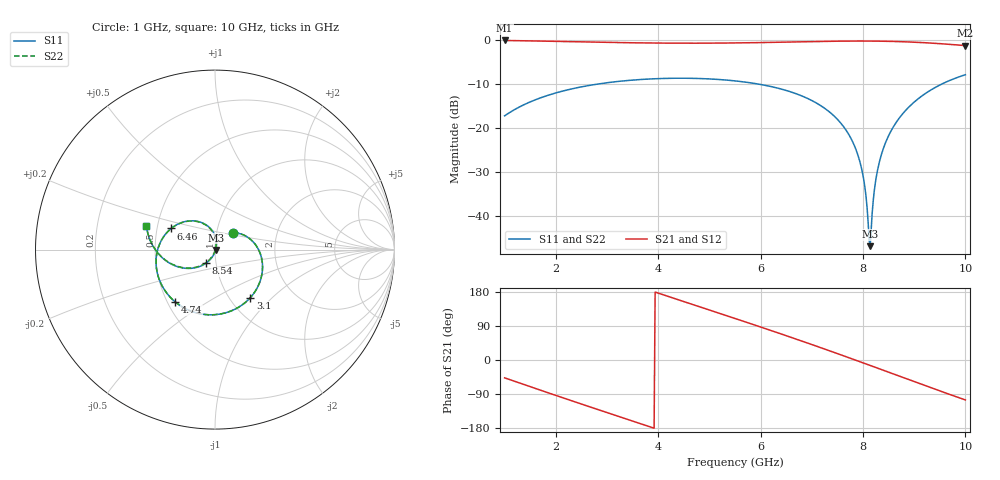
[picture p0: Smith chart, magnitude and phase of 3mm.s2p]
! Touchstone file exported from HFSS 2018.2.0
!  File:  C:/Users/10024/OneDrive - The University of Nottingham Ningbo China/Year 4/Final Year Project/HFSS project/Passive_Resonator_Antenna.aedt
!  Generated:  12:14:43 下午  3月 12, 2022
!  Design:  SMA_Thru
!  Project:  Passive_Resonator_Antenna
!  Setup:  Setup1
!  Solution:  Sweep
! Variables:
!  MW = 1mm
!  ThruL = 3mm
!  g = 0.2mm
!  subH = 0.8mm
!  subX = 20mm
!  subY = 13mm
!  tapW = 1mm
# GHZ S MA R 50.000000
! Modal data exported
! Port[1] = SMA_CONNECTOR1_1:1
! Port[2] = SMA_CONNECTOR2_1:1
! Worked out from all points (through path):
!   451 points, 1 GHz to 10 GHz, reference 50 ohm
!   highest |S21| = -0.09 dB at 1 GHz (marker M1); lowest = -1.3 dB at 10 GHz (marker M2)
!   group delay of S21, straight-line fit = 128 ps
!   lowest |S11| = -46.9 dB at 8.14 GHz (marker M3), VSWR 1.01, Z = 50.4 - j0.243 ohm
!   |S11| at or under -10 dB: start of sweep to 2.825 GHz; 5.949 GHz to 9.54 GHz (3.592 GHz wide, 46.4 % of centre)
!   |S22| runs from -52.9 to -7.9 dB; largest |S21 - S12| = 1.8e-14
!   S11 on the Smith chart (normalised r, x): 1 GHz: 1.20, +0.23; 3.1 GHz: 1.24, -0.75; 4.74 GHz: 0.55, -0.37; 6.46 GHz: 0.59, +0.15; 8.54 GHz: 0.89, -0.14; 10 GHz: 0.43, +0.13
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1  0.1373 42.9  0.9898 -47.1  0.9898 -47.1  0.1373 42.9
! Gamma ! 0.0151858380091465 30.3716836111974 0.015185838009149 30.3716836111944
! Port Impedance50 0 50 0
1.76  0.2263 7.4  0.9723 -82.4  0.9723 -82.4  0.2263 7.4
2.5  0.2934 -26.6  0.9528 -116.2  0.9528 -116.2  0.2934 -26.6
3.1  0.3323 -53.8  0.9386 -143.3  0.9386 -143.3  0.3324 -53.8
4  0.3643 -94.2  0.9244 176.5  0.9244 176.5  0.3643 -94.2
4.74  0.3661 -127.3  0.9215 143.6  0.9215 143.6  0.3661 -127.3
5.5  0.3432 -161.6  0.9276 109.7  0.9276 109.7  0.3432 -161.5
6.46  0.2713 154.2  0.9469 66.0  0.9469 66.0  0.2713 154.5
7  0.2052 128.5  0.9604 40.8  0.9604 40.8  0.2051 129.0
7.52  0.1219 102.5  0.9711 16.0  0.9711 16.0  0.1217 103.6
7.84  0.0613 84.8  0.9745 0.4  0.9745 0.4  0.0611 87.0
8  0.02879 72.2  0.9748 -7.5  0.9748 -7.5  0.02843 77.1
8.06  0.01643 62.6  0.9746 -10.4  0.9746 -10.4  0.01585 71.3
8.1  0.008518 45.3  0.9744 -12.4  0.9744 -12.4  0.007452 61.8
8.14  0.004518 -32.3  0.9741 -14.4  0.9741 -14.4  0.002266 -53.3
8.16  0.007072 -69.3  0.9739 -15.4  0.9739 -15.4  0.005973 -89.6
8.22  0.01916 -97.0  0.9732 -18.3  0.9732 -18.3  0.01886 -104.7
8.28  0.03219 -105.4  0.9724 -21.3  0.9724 -21.3  0.03206 -110.0
8.5  0.08158 -121.1  0.9676 -32.2  0.9676 -32.2  0.08163 -122.9
8.54  0.09072 -123.5  0.9664 -34.2  0.9664 -34.2  0.09079 -125.1
9.26  0.2559 -161.5  0.9291 -69.9  0.9291 -69.9  0.2562 -162.1
10  0.4031 161.4  0.8651 -105.4  0.8651 -105.4  0.4036 161.1
